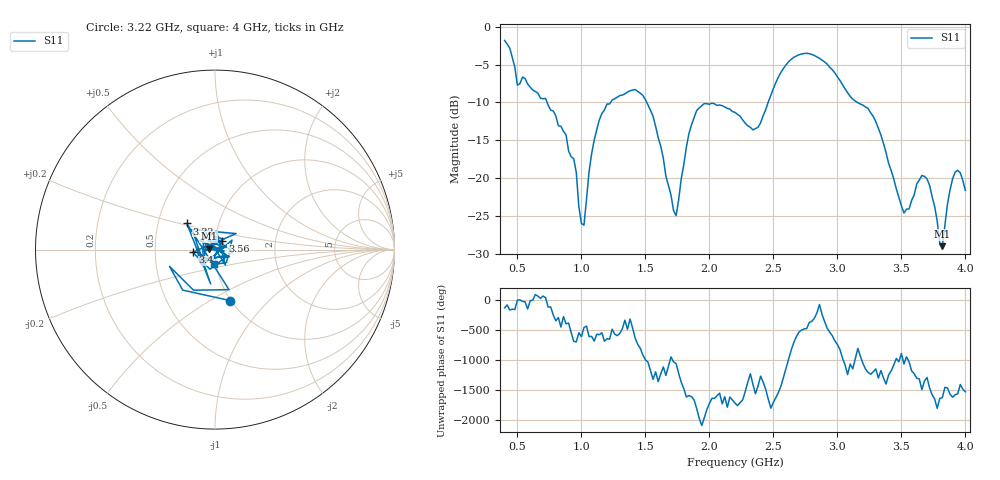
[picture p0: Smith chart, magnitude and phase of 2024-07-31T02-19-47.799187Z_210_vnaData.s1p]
!Created with skrf (http://scikit-rf.org).
# Hz S RI R 50.0
!freq ReS11 ImS11
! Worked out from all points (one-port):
!   181 points, 400 MHz to 4 GHz, reference 50 ohm
!   lowest |S11| = -29.0 dB at 3.82 GHz (marker M1), VSWR 1.07, Z = 46.6 + j0.553 ohm
!   |S11| at or under -10 dB: 732.1 MHz to 1.228 GHz (495.6 MHz wide, 50.6 % of centre); 1.511 GHz to 2.458 GHz (947.5 MHz wide, 47.7 % of centre); 3.157 GHz to end of sweep
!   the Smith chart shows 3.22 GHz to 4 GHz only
!   S11 on the Smith chart (normalised r, x): 3.22 GHz: 0.99, -0.61; 3.32 GHz: 0.70, +0.21; 3.4 GHz: 0.78, -0.02; 3.56 GHz: 1.08, +0.10; 4 GHz: 0.98, -0.16
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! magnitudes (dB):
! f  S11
! 400 MHz  -1.8
! 500 MHz  -7.7
! 720 MHz  -9.5
! 860 MHz  -13.8
! 940 MHz  -17.4
! 1.02 GHz  -26.2
! 1.08 GHz  -16.7
! 1.14 GHz  -12.3
! 1.3 GHz  -9.1
! 1.5 GHz  -9.6
! 1.72 GHz  -24.3
! 1.76 GHz  -22.8
! 1.84 GHz  -14.1
! 1.9 GHz  -11.1
! 2.2 GHz  -11.3
! 2.38 GHz  -13.3
! 2.66 GHz  -4.0
! 2.86 GHz  -4.2
! 3.1 GHz  -9.2
! 3.22 GHz  -10.6
! 3.32 GHz  -13.4
! 3.4 GHz  -18.0
! 3.52 GHz  -24.6
! 3.56 GHz  -24.1
! 3.7 GHz  -20.1
! 3.82 GHz  -29.0
! 3.92 GHz  -19.2
! 4 GHz  -21.6
